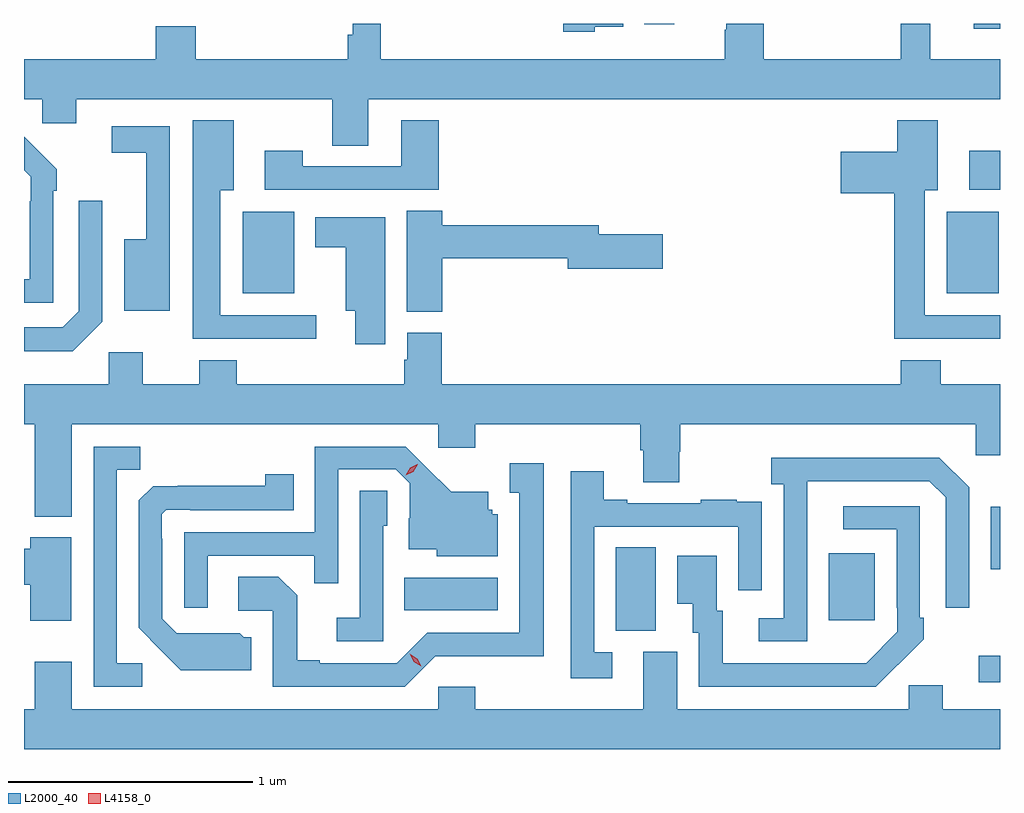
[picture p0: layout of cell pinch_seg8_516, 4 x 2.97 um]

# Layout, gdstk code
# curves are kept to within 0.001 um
import gdstk
lib = gdstk.Library(unit=1e-6, precision=1e-09)
def R(c, l, rs):  # rectangles x0, y0, x1, y1
    for r in rs: c.add(gdstk.rectangle(r[:2], r[2:], *l))
def P(c, l, *ps):  # polygons
    for p in ps: c.add(gdstk.Polygon(p, *l))
L2000_40 = (2000, 40)
L4158_0 = (4158, 0)

pinch_seg8_516 = lib.new_cell('pinch_seg8_516')
R(pinch_seg8_516, L2000_40, [(128.622,1118.106,128.71,1118.215), (127.136,1118.317,127.3,1118.66), (128.009,1118.361,128.197,1118.635), (126.268,1118.402,126.652,1118.536), (128.672,1118.57,128.71,1118.827), (125.606,1119.701,125.818,1120.036), (128.492,1119.701,128.704,1120.036), (128.583,1120.125,128.71,1120.285), (128.603,1120.785,128.71,1120.806), (127.253,1120.803,127.375,1120.806)])
P(pinch_seg8_516, L2000_40, [(127.05,1120.793),(127.165,1120.793),(127.165,1120.806),(126.92,1120.806),(126.92,1120.772),(127.05,1120.772)],
  [(126.121,1120.496),(128.71,1120.496),(128.71,1120.66),(128.425,1120.66),(128.425,1120.806),(128.304,1120.806),(128.304,1120.66),(127.742,1120.66),(127.742,1120.806),(127.589,1120.806),(127.589,1120.781),(127.582,1120.781),(127.582,1120.66),(126.173,1120.66),(126.173,1120.806),(126.057,1120.806),(126.057,1120.761),(126.037,1120.761),(126.037,1120.66),(125.414,1120.66),(125.414,1120.796),(125.249,1120.796),(125.249,1120.66),(124.71,1120.66),(124.71,1120.496),(124.785,1120.496),(124.785,1120.398),(124.924,1120.398),(124.924,1120.496),(125.974,1120.496),(125.974,1120.306),(126.121,1120.306)],
  [(128.71,1119.612),(128.401,1119.612),(128.401,1120.124),(128.455,1120.124),(128.455,1120.411),(128.288,1120.411),(128.288,1120.282),(128.058,1120.282),(128.058,1120.112),(128.276,1120.112),(128.276,1119.515),(128.71,1119.515)],
  [(125.908,1119.612),(125.515,1119.612),(125.515,1120.124),(125.569,1120.124),(125.569,1120.411),(125.402,1120.411),(125.402,1119.515),(125.908,1119.515)],
  [(126.41,1120.411),(126.257,1120.411),(126.257,1120.221),(125.853,1120.221),(125.853,1120.285),(125.697,1120.285),(125.697,1120.125),(126.41,1120.125)],
  [(125.307,1120.386),(125.07,1120.386),(125.07,1120.278),(125.21,1120.278),(125.21,1119.922),(125.12,1119.922),(125.12,1119.629),(125.307,1119.629)],
  [(124.83,1120.121),(124.845,1120.121),(124.845,1120.209),(124.74,1120.314),(124.739,1120.313),(124.71,1120.342),(124.71,1120.206),(124.737,1120.179),(124.737,1120.079),(124.734,1120.079),(124.734,1119.759),(124.71,1119.759),(124.71,1119.663),(124.83,1119.663)],
  [(125.031,1119.585),(125.031,1120.081),(124.935,1120.081),(124.935,1119.627),(124.869,1119.561),(124.71,1119.561),(124.71,1119.464),(124.91,1119.464)],
  [(126.425,1119.844),(126.938,1119.844),(126.938,1119.802),(127.327,1119.802),(127.327,1119.944),(127.066,1119.944),(127.066,1119.98),(126.425,1119.98),(126.425,1120.04),(126.278,1120.04),(126.278,1119.625),(126.425,1119.625)],
  [(126.19,1120.012),(125.903,1120.012),(125.903,1119.89),(126.029,1119.89),(126.029,1119.629),(126.068,1119.629),(126.068,1119.492),(126.19,1119.492)],
  [(124.906,1119.164),(126.408,1119.164),(126.408,1119.069),(126.56,1119.069),(126.56,1119.164),(127.235,1119.164),(127.235,1119.058),(127.247,1119.058),(127.247,1118.926),(127.395,1118.926),(127.395,1119.051),(127.4,1119.051),(127.4,1119.164),(128.61,1119.164),(128.61,1119.038),(128.71,1119.038),(128.71,1119.328),(128.468,1119.328),(128.468,1119.427),(128.303,1119.427),(128.303,1119.328),(126.422,1119.328),(126.422,1119.54),(126.281,1119.54),(126.281,1119.429),(126.269,1119.429),(126.269,1119.328),(125.582,1119.328),(125.582,1119.427),(125.429,1119.427),(125.429,1119.328),(125.197,1119.328),(125.197,1119.46),(125.058,1119.46),(125.058,1119.328),(124.71,1119.328),(124.71,1119.164),(124.754,1119.164),(124.754,1118.786),(124.906,1118.786)],
  [(125.194,1118.184),(125.091,1118.184),(125.091,1118.977),(125.187,1118.977),(125.187,1119.072),(124.995,1119.072),(124.995,1118.088),(125.194,1118.088)],
  [(125.463,1118.625),(125.899,1118.625),(125.899,1118.512),(125.997,1118.512),(125.997,1118.979),(126.234,1118.979),(126.291,1118.922),(126.291,1118.78),(126.287,1118.78),(126.287,1118.651),(126.402,1118.651),(126.402,1118.624),(126.652,1118.624),(126.652,1118.796),(126.63,1118.796),(126.63,1118.814),(126.613,1118.814),(126.613,1118.887),(126.461,1118.887),(126.274,1119.072),(125.901,1119.072),(125.901,1118.721),(125.367,1118.721),(125.367,1118.412),(125.463,1118.412)],
  [(127.92,1118.731),(127.921,1118.931),(128.421,1118.931),(128.487,1118.865),(128.487,1118.412),(128.583,1118.412),(128.583,1118.907),(128.462,1119.028),(127.773,1119.028),(127.773,1118.918),(127.824,1118.918),(127.824,1118.37),(127.722,1118.37),(127.722,1118.274),(127.92,1118.274)],
  [(126.396,1118.214),(126.841,1118.213),(126.841,1119.004),(126.701,1119.004),(126.701,1118.883),(126.74,1118.883),(126.74,1118.31),(126.363,1118.31),(126.237,1118.184),(125.923,1118.184),(125.923,1118.197),(125.829,1118.197),(125.829,1118.464),(125.753,1118.54),(125.589,1118.54),(125.589,1118.4),(125.73,1118.4),(125.73,1118.088),(126.27,1118.088)],
  [(127.12,1118.229),(127.047,1118.229),(127.047,1118.745),(127.638,1118.745),(127.638,1118.484),(127.734,1118.484),(127.734,1118.738),(127.733,1118.738),(127.733,1118.847),(127.631,1118.847),(127.631,1118.854),(127.483,1118.854),(127.483,1118.841),(127.183,1118.841),(127.183,1118.854),(127.087,1118.854),(127.087,1118.971),(126.951,1118.971),(126.951,1118.124),(127.12,1118.124)],
  [(125.641,1118.292),(125.61,1118.292),(125.594,1118.308),(125.337,1118.307),(125.277,1118.367),(125.277,1118.696),(125.274,1118.696),(125.274,1118.796),(125.292,1118.814),(125.392,1118.814),(125.392,1118.811),(125.816,1118.811),(125.816,1118.959),(125.698,1118.959),(125.698,1118.912),(125.24,1118.911),(125.181,1118.852),(125.181,1118.33),(125.353,1118.156),(125.641,1118.156)],
  [(126.183,1118.748),(126.198,1118.748),(126.198,1118.891),(126.087,1118.891),(126.087,1118.371),(125.991,1118.371),(125.991,1118.274),(126.183,1118.274)],
  [(128.291,1118.179),(128.292,1118.178),(128.397,1118.283),(128.397,1118.371),(128.382,1118.371),(128.382,1118.829),(128.067,1118.829),(128.067,1118.733),(128.286,1118.733),(128.286,1118.413),(128.289,1118.413),(128.289,1118.313),(128.161,1118.185),(127.573,1118.184),(127.573,1118.4),(127.549,1118.4),(127.549,1118.626),(127.388,1118.626),(127.388,1118.429),(127.451,1118.429),(127.451,1118.31),(127.476,1118.31),(127.476,1118.088),(128.2,1118.088)],
  [(124.903,1118.701),(124.736,1118.701),(124.736,1118.654),(124.71,1118.654),(124.71,1118.507),(124.736,1118.507),(124.736,1118.358),(124.903,1118.358)],
  [(128.71,1117.996),(128.476,1117.996),(128.476,1118.094),(128.337,1118.094),(128.337,1117.996),(127.387,1117.996),(127.387,1118.232),(127.247,1118.232),(127.247,1117.996),(126.56,1117.996),(126.56,1118.089),(126.408,1118.089),(126.408,1117.996),(124.906,1117.996),(124.906,1118.191),(124.754,1118.191),(124.754,1117.996),(124.71,1117.996),(124.71,1117.832),(128.71,1117.832)])
P(pinch_seg8_516, L4158_0, [(126.339,1118.172),(126.307,1118.191),(126.29,1118.223),(126.29,1118.224),(126.29,1118.224),(126.322,1118.204),(126.339,1118.172),(126.339,1118.172)],
  [(126.274,1118.956),(126.274,1118.956),(126.292,1118.985),(126.322,1119),(126.323,1119),(126.323,1119),(126.305,1118.97),(126.274,1118.956)])

lib.write_gds('pinch_seg8_516.gds')
